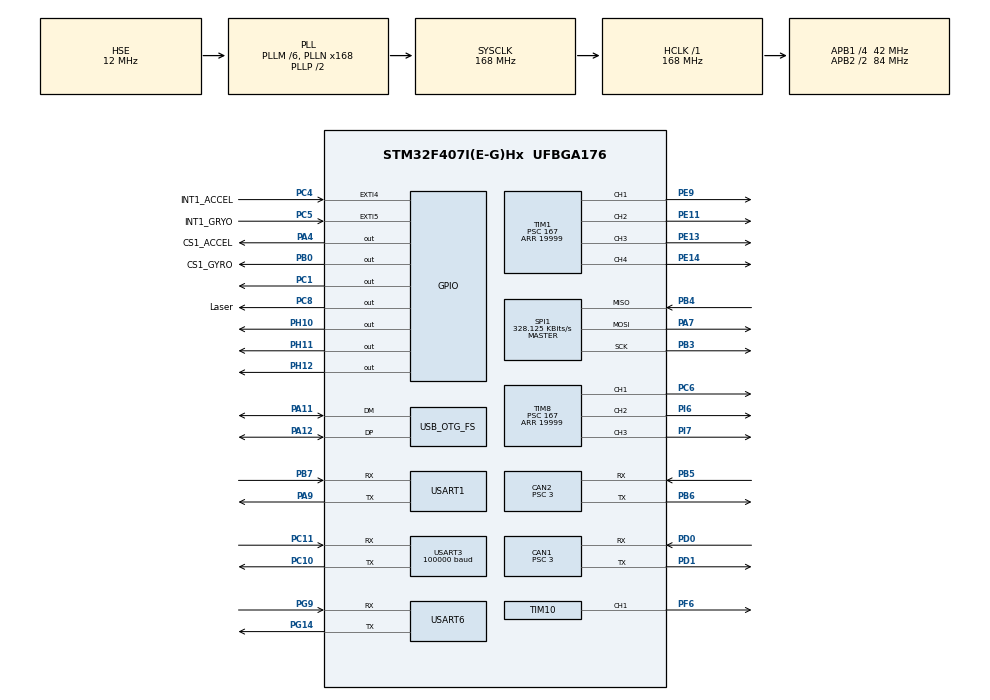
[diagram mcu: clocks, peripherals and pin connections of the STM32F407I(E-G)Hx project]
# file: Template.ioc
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CAN1.ABOM=DISABLE
CAN1.BS1=CAN_BS1_10TQ
CAN1.BS2=CAN_BS2_3TQ
CAN1.CalculateBaudRate=1000000
CAN1.CalculateTimeBit=1000
CAN1.CalculateTimeQuantum=71.42857142857143
CAN1.Prescaler=3
CAN2.BS1=CAN_BS1_10TQ
CAN2.BS2=CAN_BS2_3TQ
CAN2.CalculateBaudRate=1000000
CAN2.CalculateTimeBit=1000
CAN2.CalculateTimeQuantum=71.42857142857143
CAN2.Prescaler=3
Dma.Request0=SPI1_RX
Dma.Request1=SPI1_TX
Dma.Request2=USART6_RX
Dma.Request3=USART6_TX
Dma.Request4=USART3_RX
Dma.Request5=USART1_TX
Dma.Request6=USART1_RX
Dma.SPI1_RX.0.Direction=DMA_PERIPH_TO_MEMORY
Dma.SPI1_RX.0.FIFOMode=DMA_FIFOMODE_DISABLE
Dma.SPI1_RX.0.Instance=DMA2_Stream0
Dma.SPI1_RX.0.MemDataAlignment=DMA_MDATAALIGN_BYTE
Dma.SPI1_RX.0.MemInc=DMA_MINC_ENABLE
Dma.SPI1_RX.0.Mode=DMA_NORMAL
Dma.SPI1_RX.0.PeriphDataAlignment=DMA_PDATAALIGN_BYTE
Dma.SPI1_RX.0.PeriphInc=DMA_PINC_DISABLE
Dma.SPI1_RX.0.Priority=DMA_PRIORITY_VERY_HIGH
Dma.SPI1_TX.1.Direction=DMA_MEMORY_TO_PERIPH
Dma.SPI1_TX.1.FIFOMode=DMA_FIFOMODE_DISABLE
Dma.SPI1_TX.1.Instance=DMA2_Stream3
Dma.SPI1_TX.1.MemDataAlignment=DMA_MDATAALIGN_BYTE
Dma.SPI1_TX.1.MemInc=DMA_MINC_ENABLE
Dma.SPI1_TX.1.Mode=DMA_NORMAL
Dma.SPI1_TX.1.PeriphDataAlignment=DMA_PDATAALIGN_BYTE
Dma.SPI1_TX.1.PeriphInc=DMA_PINC_DISABLE
Dma.SPI1_TX.1.Priority=DMA_PRIORITY_HIGH
Dma.USART1_RX.6.Direction=DMA_PERIPH_TO_MEMORY
Dma.USART1_RX.6.FIFOMode=DMA_FIFOMODE_DISABLE
Dma.USART1_RX.6.Instance=DMA2_Stream2
Dma.USART1_RX.6.MemDataAlignment=DMA_MDATAALIGN_BYTE
Dma.USART1_RX.6.MemInc=DMA_MINC_ENABLE
Dma.USART1_RX.6.Mode=DMA_NORMAL
Dma.USART1_RX.6.PeriphDataAlignment=DMA_PDATAALIGN_BYTE
Dma.USART1_RX.6.PeriphInc=DMA_PINC_DISABLE
Dma.USART1_RX.6.Priority=DMA_PRIORITY_HIGH
Dma.USART1_TX.5.Direction=DMA_MEMORY_TO_PERIPH
Dma.USART1_TX.5.FIFOMode=DMA_FIFOMODE_DISABLE
Dma.USART1_TX.5.Instance=DMA2_Stream7
Dma.USART1_TX.5.MemDataAlignment=DMA_MDATAALIGN_BYTE
Dma.USART1_TX.5.MemInc=DMA_MINC_ENABLE
Dma.USART1_TX.5.Mode=DMA_NORMAL
Dma.USART1_TX.5.PeriphDataAlignment=DMA_PDATAALIGN_BYTE
Dma.USART1_TX.5.PeriphInc=DMA_PINC_DISABLE
Dma.USART1_TX.5.Priority=DMA_PRIORITY_HIGH
Dma.USART3_RX.4.Direction=DMA_PERIPH_TO_MEMORY
Dma.USART3_RX.4.FIFOMode=DMA_FIFOMODE_DISABLE
Dma.USART3_RX.4.Instance=DMA1_Stream1
Dma.USART3_RX.4.MemDataAlignment=DMA_MDATAALIGN_BYTE
Dma.USART3_RX.4.MemInc=DMA_MINC_ENABLE
Dma.USART3_RX.4.Mode=DMA_NORMAL
Dma.USART3_RX.4.PeriphDataAlignment=DMA_PDATAALIGN_BYTE
Dma.USART3_RX.4.PeriphInc=DMA_PINC_DISABLE
Dma.USART3_RX.4.Priority=DMA_PRIORITY_HIGH
Dma.USART6_RX.2.Direction=DMA_PERIPH_TO_MEMORY
Dma.USART6_RX.2.FIFOMode=DMA_FIFOMODE_DISABLE
Dma.USART6_RX.2.Instance=DMA2_Stream1
Dma.USART6_RX.2.MemDataAlignment=DMA_MDATAALIGN_BYTE
Dma.USART6_RX.2.MemInc=DMA_MINC_ENABLE
Dma.USART6_RX.2.Mode=DMA_NORMAL
Dma.USART6_RX.2.PeriphDataAlignment=DMA_PDATAALIGN_BYTE
Dma.USART6_RX.2.PeriphInc=DMA_PINC_DISABLE
Dma.USART6_RX.2.Priority=DMA_PRIORITY_HIGH
Dma.USART6_TX.3.Direction=DMA_MEMORY_TO_PERIPH
Dma.USART6_TX.3.FIFOMode=DMA_FIFOMODE_DISABLE
Dma.USART6_TX.3.Instance=DMA2_Stream6
Dma.USART6_TX.3.MemDataAlignment=DMA_MDATAALIGN_BYTE
Dma.USART6_TX.3.MemInc=DMA_MINC_ENABLE
Dma.USART6_TX.3.Mode=DMA_NORMAL
Dma.USART6_TX.3.PeriphDataAlignment=DMA_PDATAALIGN_BYTE
Dma.USART6_TX.3.PeriphInc=DMA_PINC_DISABLE
Dma.USART6_TX.3.Priority=DMA_PRIORITY_HIGH
FREERTOS.Tasks01=defaultTask,0,128,StartDefaultTask,Default,NULL,Dynamic,NULL,NULL
Mcu.Family=STM32F4
Mcu.Name=STM32F407I(E-G)Hx
Mcu.Package=UFBGA176
NVIC.CAN1_RX0_IRQn=true\:5\:0\:false\:false\:true\:true\:true\:true\:true
NVIC.CAN2_RX0_IRQn=true\:5\:0\:false\:false\:true\:true\:true\:true\:true
NVIC.DMA1_Stream1_IRQn=true\:5\:0\:false\:false\:true\:true\:false\:true\:true
NVIC.DMA2_Stream0_IRQn=true\:5\:0\:false\:false\:false\:true\:false\:true\:true
NVIC.DMA2_Stream1_IRQn=true\:5\:0\:false\:false\:true\:true\:false\:true\:true
NVIC.DMA2_Stream2_IRQn=true\:5\:0\:false\:false\:true\:true\:false\:true\:true
NVIC.DMA2_Stream3_IRQn=true\:5\:0\:false\:false\:true\:true\:false\:true\:true
NVIC.DMA2_Stream6_IRQn=true\:5\:0\:false\:false\:true\:true\:false\:true\:true
NVIC.DMA2_Stream7_IRQn=true\:5\:0\:false\:false\:true\:true\:false\:true\:true
NVIC.EXTI4_IRQn=true\:5\:0\:false\:false\:true\:true\:true\:true\:true
NVIC.EXTI9_5_IRQn=true\:5\:0\:false\:false\:true\:true\:true\:true\:true
NVIC.OTG_FS_IRQn=true\:5\:0\:false\:false\:true\:true\:false\:true\:true
NVIC.PriorityGroup=NVIC_PRIORITYGROUP_4
NVIC.TIM2_IRQn=true\:5\:0\:false\:false\:true\:true\:true\:true\:true
NVIC.TIM3_IRQn=true\:5\:0\:false\:false\:false\:true\:true\:true\:true
NVIC.TIM4_IRQn=true\:5\:0\:false\:false\:false\:true\:true\:true\:true
NVIC.TIM5_IRQn=true\:5\:0\:false\:false\:false\:true\:true\:true\:true
NVIC.TIM6_DAC_IRQn=true\:5\:0\:false\:false\:false\:true\:true\:true\:true
NVIC.TIM7_IRQn=true\:15\:0\:false\:false\:true\:false\:false\:true\:true
NVIC.TimeBase=TIM7_IRQn
NVIC.TimeBaseIP=TIM7
NVIC.USART1_IRQn=true\:5\:0\:false\:false\:false\:true\:true\:true\:true
NVIC.USART3_IRQn=true\:5\:0\:false\:false\:false\:true\:true\:true\:true
NVIC.USART6_IRQn=true\:5\:0\:false\:false\:false\:true\:true\:true\:true
PA11.Mode=Device_Only
PA11.Signal=USB_OTG_FS_DM
PA12.Mode=Device_Only
PA12.Signal=USB_OTG_FS_DP
PA13.Mode=Serial_Wire
PA13.Signal=SYS_JTMS-SWDIO
PA14.Mode=Serial_Wire
PA14.Signal=SYS_JTCK-SWCLK
PA4.GPIO_Label=CS1_ACCEL
PA4.Signal=GPIO_Output
PA7.Mode=Full_Duplex_Master
PA7.Signal=SPI1_MOSI
PA9.Mode=Asynchronous
PA9.Signal=USART1_TX
PB0.GPIO_Label=CS1_GYRO
PB0.Signal=GPIO_Output
PB3.Mode=Full_Duplex_Master
PB3.Signal=SPI1_SCK
PB4.Mode=Full_Duplex_Master
PB4.Signal=SPI1_MISO
PB5.Mode=CAN_Activate
PB5.Signal=CAN2_RX
PB6.Mode=CAN_Activate
PB6.Signal=CAN2_TX
PB7.Mode=Asynchronous
PB7.Signal=USART1_RX
PC1.GPIO_PuPd=GPIO_PULLDOWN
PC1.Signal=GPIO_Output
PC10.Mode=Asynchronous
PC10.Signal=USART3_TX
PC11.Mode=Asynchronous
PC11.Signal=USART3_RX
PC4.GPIO_Label=INT1_ACCEL
PC4.Signal=GPXTI4
PC5.GPIO_Label=INT1_GRYO
PC5.Signal=GPXTI5
PC6.Signal=S_TIM8_CH1
PC8.GPIO_Label=Laser
PC8.Signal=GPIO_Output
PD0.Mode=CAN_Activate
PD0.Signal=CAN1_RX
PD1.Mode=CAN_Activate
PD1.Signal=CAN1_TX
PE11.Signal=S_TIM1_CH2
PE13.Signal=S_TIM1_CH3
PE14.Signal=S_TIM1_CH4
PE9.Signal=S_TIM1_CH1
PF6.Signal=S_TIM10_CH1
PG14.Mode=Asynchronous
PG14.Signal=USART6_TX
PG9.Mode=Asynchronous
PG9.Signal=USART6_RX
PH0-OSC_IN.Mode=HSE-External-Oscillator
PH0-OSC_IN.Signal=RCC_OSC_IN
PH1-OSC_OUT.Mode=HSE-External-Oscillator
PH1-OSC_OUT.Signal=RCC_OSC_OUT
PH10.Signal=GPIO_Output
PH11.Signal=GPIO_Output
PH12.Signal=GPIO_Output
PI6.Signal=S_TIM8_CH2
PI7.Signal=S_TIM8_CH3
ProjectManager.HeapSize=0x2000
ProjectManager.StackSize=0x2000
ProjectManager.TargetToolchain=MDK-ARM V5.32
RCC.48MHZClocksFreq_Value=48000000
RCC.AHBFreq_Value=168000000
RCC.APB1CLKDivider=RCC_HCLK_DIV4
RCC.APB1Freq_Value=42000000
RCC.APB1TimFreq_Value=84000000
RCC.APB2CLKDivider=RCC_HCLK_DIV2
RCC.APB2Freq_Value=84000000
RCC.APB2TimFreq_Value=168000000
RCC.CortexFreq_Value=168000000
RCC.HCLKFreq_Value=168000000
RCC.HSE_VALUE=12000000
RCC.HSI_VALUE=16000000
RCC.LSE_VALUE=32768
RCC.PLLM=6
RCC.PLLN=168
RCC.PLLQ=7
RCC.SYSCLKFreq_VALUE=168000000
RCC.SYSCLKSource=RCC_SYSCLKSOURCE_PLLCLK
RCC.VCOOutputFreq_Value=336000000
SH.S_TIM10_CH1.0=TIM10_CH1,PWM Generation1 CH1
SH.S_TIM1_CH1.0=TIM1_CH1,PWM Generation1 CH1
SH.S_TIM1_CH2.0=TIM1_CH2,PWM Generation2 CH2
SH.S_TIM1_CH3.0=TIM1_CH3,PWM Generation3 CH3
SH.S_TIM1_CH4.0=TIM1_CH4,PWM Generation4 CH4
SH.S_TIM8_CH1.0=TIM8_CH1,PWM Generation1 CH1
SH.S_TIM8_CH2.0=TIM8_CH2,PWM Generation2 CH2
SH.S_TIM8_CH3.0=TIM8_CH3,PWM Generation3 CH3
SPI1.BaudRatePrescaler=SPI_BAUDRATEPRESCALER_256
SPI1.CLKPhase=SPI_PHASE_2EDGE
SPI1.CLKPolarity=SPI_POLARITY_HIGH
SPI1.CalculateBaudRate=328.125 KBits/s
SPI1.Direction=SPI_DIRECTION_2LINES
SPI1.Mode=SPI_MODE_MASTER
SPI1.VirtualType=VM_MASTER
TIM1.Channel-PWM\ Generation1\ CH1=TIM_CHANNEL_1
TIM1.Channel-PWM\ Generation2\ CH2=TIM_CHANNEL_2
TIM1.Channel-PWM\ Generation3\ CH3=TIM_CHANNEL_3
TIM1.Channel-PWM\ Generation4\ CH4=TIM_CHANNEL_4
TIM1.Period=19999
TIM1.Prescaler=167
TIM1.Pulse-PWM\ Generation1\ CH1=1000
TIM1.Pulse-PWM\ Generation2\ CH2=1000
TIM1.Pulse-PWM\ Generation3\ CH3=1000
TIM1.Pulse-PWM\ Generation4\ CH4=1000
TIM10.Channel=TIM_CHANNEL_1
TIM10.Period=4999
TIM2.Period=200-1
TIM2.Prescaler=84-1
TIM3.Period=999
TIM3.Prescaler=83
TIM4.Period=1999
TIM4.Prescaler=83
TIM5.Period=999
TIM5.Prescaler=83
TIM6.Period=9999
TIM6.Prescaler=83
TIM8.Channel-PWM\ Generation1\ CH1=TIM_CHANNEL_1
TIM8.Channel-PWM\ Generation2\ CH2=TIM_CHANNEL_2
TIM8.Channel-PWM\ Generation3\ CH3=TIM_CHANNEL_3
TIM8.Period=19999
TIM8.Prescaler=167
TIM8.Pulse-PWM\ Generation1\ CH1=1000
TIM8.Pulse-PWM\ Generation2\ CH2=1000
TIM8.Pulse-PWM\ Generation3\ CH3=1000
USART1.VirtualMode=VM_ASYNC
USART3.BaudRate=100000
USART3.Parity=PARITY_EVEN
USART3.VirtualMode=VM_ASYNC
USART6.VirtualMode=VM_ASYNC
USB_DEVICE.CLASS_NAME_FS=CDC
USB_DEVICE.VirtualMode-CDC_FS=Cdc
USB_DEVICE.VirtualModeFS=Cdc_FS
USB_OTG_FS.VirtualMode=Device_Only
VP_FREERTOS_VS_CMSIS_V1.Mode=CMSIS_V1
VP_SYS_VS_tim7.Mode=TIM7
VP_TIM10_VS_ClockSourceINT.Mode=Enable_Timer
VP_TIM1_VS_ClockSourceINT.Mode=Internal
VP_TIM2_VS_ClockSourceINT.Mode=Internal
VP_TIM3_VS_ClockSourceINT.Mode=Internal
VP_TIM4_VS_ClockSourceINT.Mode=Internal
VP_TIM5_VS_ClockSourceINT.Mode=Internal
VP_TIM6_VS_ClockSourceINT.Mode=Enable_Timer
VP_TIM8_VS_ClockSourceINT.Mode=Internal
VP_USB_DEVICE_VS_USB_DEVICE_CDC_FS.Mode=CDC_FS
board=custom

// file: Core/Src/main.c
/* USER CODE BEGIN Header */
/**
  ******************************************************************************
  * @file           : main.c
  * @brief          : Main program body
  ******************************************************************************
  * @attention
  *
  * Copyright (c) 2021 STMicroelectronics.
  * All rights reserved.
  *
  * This software is licensed under terms that can be found in the LICENSE file
  * in the root directory of this software component.
  * If no LICENSE file comes with this software, it is provided AS-IS.
  *
  ******************************************************************************
  */
/* USER CODE END Header */
#include "main.h"
#include "cmsis_os.h"
#include "can.h"
#include "dma.h"
#include "spi.h"
#include "tim.h"
#include "usart.h"
#include "usb_device.h"
#include "gpio.h"

/* USER CODE BEGIN Includes */
#include "bsp_delay.h"
#include "bsp_can.h"
#include "Remote.h"
/* USER CODE END Includes */

void SystemClock_Config(void);
void MX_FREERTOS_Init(void);

int main(void)
{

  /* MCU Configuration--------------------------------------------------------*/

  /* Reset of all peripherals, Initializes the Flash interface and the Systick. */
  HAL_Init();

  /* Configure the system clock */
  SystemClock_Config();

  /* Initialize all configured peripherals */
  MX_GPIO_Init();
  MX_DMA_Init();
  MX_CAN1_Init();
  MX_SPI1_Init();
  MX_TIM5_Init();
  MX_TIM10_Init();
  MX_CAN2_Init();
  MX_USART1_UART_Init();
  MX_USART3_UART_Init();
  MX_USART6_UART_Init();
  MX_TIM3_Init();
  MX_TIM4_Init();
  MX_TIM1_Init();
  MX_TIM8_Init();
  MX_TIM6_Init();
  MX_TIM2_Init();
  /* USER CODE BEGIN 2 */
  MX_USB_DEVICE_Init();
  delay_init();
  remote_control_init();
  can_filter_init();
  HAL_TIM_Base_Start_IT(&htim2);
  HAL_TIM_Base_Start_IT(&htim3);
  HAL_Delay(1);
  HAL_TIM_Base_Start_IT(&htim4);
  HAL_TIM_Base_Start_IT(&htim5);
  HAL_Delay(1);
  HAL_TIM_Base_Start_IT(&htim6);

  HAL_TIM_Base_Start(&htim4);
  //start pwm channel
  HAL_TIM_PWM_Start(&htim4, TIM_CHANNEL_3);

  HAL_TIM_PWM_Start(&htim10, TIM_CHANNEL_1);

  HAL_TIM_PWM_Start(&htim1, TIM_CHANNEL_1);

  HAL_GPIO_WritePin(LED_R_GPIO_Port, LED_R_Pin, GPIO_PIN_RESET);
  HAL_GPIO_WritePin(LED_G_GPIO_Port, LED_G_Pin, GPIO_PIN_RESET);
  HAL_GPIO_WritePin(LED_B_GPIO_Port, LED_B_Pin, GPIO_PIN_RESET);
  HAL_GPIO_WritePin(Laser_GPIO_Port, Laser_Pin, GPIO_PIN_SET);
  /* USER CODE END 2 */

  /* Call init function for freertos objects (in cmsis_os2.c) */
  MX_FREERTOS_Init();

  /* Start scheduler */
  osKernelStart();

  /* We should never get here as control is now taken by the scheduler */

  /* Infinite loop */
  while (1)
  {

  }
}

void SystemClock_Config(void)
{
  RCC_OscInitTypeDef RCC_OscInitStruct = {0};
  RCC_ClkInitTypeDef RCC_ClkInitStruct = {0};

  /** Configure the main internal regulator output voltage
  */
  __HAL_RCC_PWR_CLK_ENABLE();
  __HAL_PWR_VOLTAGESCALING_CONFIG(PWR_REGULATOR_VOLTAGE_SCALE1);

  /** Initializes the RCC Oscillators according to the specified parameters
  * in the RCC_OscInitTypeDef structure.
  */
  RCC_OscInitStruct.OscillatorType = RCC_OSCILLATORTYPE_HSE;
  RCC_OscInitStruct.HSEState = RCC_HSE_ON;
  RCC_OscInitStruct.PLL.PLLState = RCC_PLL_ON;
  RCC_OscInitStruct.PLL.PLLSource = RCC_PLLSOURCE_HSE;
  RCC_OscInitStruct.PLL.PLLM = 6;
  RCC_OscInitStruct.PLL.PLLN = 168;
  RCC_OscInitStruct.PLL.PLLP = RCC_PLLP_DIV2;
  RCC_OscInitStruct.PLL.PLLQ = 7;
  if (HAL_RCC_OscConfig(&RCC_OscInitStruct) != HAL_OK)
  {
    Error_Handler();
  }

  /** Initializes the CPU, AHB and APB buses clocks
  */
  RCC_ClkInitStruct.ClockType = RCC_CLOCKTYPE_HCLK|RCC_CLOCKTYPE_SYSCLK
                              |RCC_CLOCKTYPE_PCLK1|RCC_CLOCKTYPE_PCLK2;
  RCC_ClkInitStruct.SYSCLKSource = RCC_SYSCLKSOURCE_PLLCLK;
  RCC_ClkInitStruct.AHBCLKDivider = RCC_SYSCLK_DIV1;
  RCC_ClkInitStruct.APB1CLKDivider = RCC_HCLK_DIV4;
  RCC_ClkInitStruct.APB2CLKDivider = RCC_HCLK_DIV2;

  if (HAL_RCC_ClockConfig(&RCC_ClkInitStruct, FLASH_LATENCY_5) != HAL_OK)
  {
    Error_Handler();
  }
}

void HAL_TIM_PeriodElapsedCallback(TIM_HandleTypeDef *htim)
{
  if (htim->Instance == TIM7) {
    HAL_IncTick();
  }
}

void Error_Handler(void)
{
  __disable_irq();
  while (1)
  {
  }
}

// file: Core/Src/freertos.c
/* USER CODE BEGIN Header */
/**
  ******************************************************************************
  * File Name          : freertos.c
  * Description        : Code for freertos applications
  ******************************************************************************
  * @attention
  *
  * Copyright (c) 2021 STMicroelectronics.
  * All rights reserved.
  *
  * This software is licensed under terms that can be found in the LICENSE file
  * in the root directory of this software component.
  * If no LICENSE file comes with this software, it is provided AS-IS.
  *
  ******************************************************************************
  */
/* USER CODE END Header */

#include "FreeRTOS.h"
#include "task.h"
#include "main.h"
#include "cmsis_os.h"

/* USER CODE BEGIN Includes */
#include "AttitudeThread.h"
#include "CalculateThread.h"
#include "DebugThread.h"
/* USER CODE END Includes */

/* USER CODE BEGIN PTD */

osThreadId CalcThreadHandler;
osThreadId AttudThreadHandler;
osThreadId DebugThreadHandle;

/* USER CODE END PTD */

osThreadId defaultTaskHandle;

void StartDefaultTask(void const * argument);

extern void MX_USB_DEVICE_Init(void);
void MX_FREERTOS_Init(void); /* (MISRA C 2004 rule 8.1) */

/* GetIdleTaskMemory prototype (linked to static allocation support) */
void vApplicationGetIdleTaskMemory( StaticTask_t **ppxIdleTaskTCBBuffer, StackType_t **ppxIdleTaskStackBuffer, uint32_t *pulIdleTaskStackSize );

/* USER CODE BEGIN GET_IDLE_TASK_MEMORY */
static StaticTask_t xIdleTaskTCBBuffer;
static StackType_t xIdleStack[configMINIMAL_STACK_SIZE];

void vApplicationGetIdleTaskMemory( StaticTask_t **ppxIdleTaskTCBBuffer, StackType_t **ppxIdleTaskStackBuffer, uint32_t *pulIdleTaskStackSize )
{
  *ppxIdleTaskTCBBuffer = &xIdleTaskTCBBuffer;
  *ppxIdleTaskStackBuffer = &xIdleStack[0];
  *pulIdleTaskStackSize = configMINIMAL_STACK_SIZE;
  /* place for user code */
}
/* USER CODE END GET_IDLE_TASK_MEMORY */

void MX_FREERTOS_Init(void) {

  /* Create the thread(s) */
  /* definition and creation of defaultTask */
  osThreadDef(defaultTask, StartDefaultTask, osPriorityNormal, 0, 128);
  defaultTaskHandle = osThreadCreate(osThread(defaultTask), NULL);

  /* USER CODE BEGIN RTOS_THREADS */
  /* add threads, ... */

  /* definition and creation of Attitude */
  osThreadDef(Attitude, AttitudeThread, osPriorityRealtime, 0, 1536);
  AttudThreadHandler = osThreadCreate(osThread(Attitude), NULL);

  /* definition and creation of Calculate */
  osThreadDef(Calculate, CalculateThread, osPriorityHigh, 0, 2048);
  CalcThreadHandler = osThreadCreate(osThread(Calculate), NULL);

  /* definition and creation of Debug */
  //osThreadDef(Debug, DebugThread, osPriorityNormal, 0, 512);
  //DebugThreadHandle = osThreadCreate(osThread(Debug), NULL);

  /* USER CODE END RTOS_THREADS */

}

void StartDefaultTask(void const * argument)
{
  /* init code for USB_DEVICE */
  MX_USB_DEVICE_Init();
  for(;;)
  {
    osDelay(1);
  }
}
